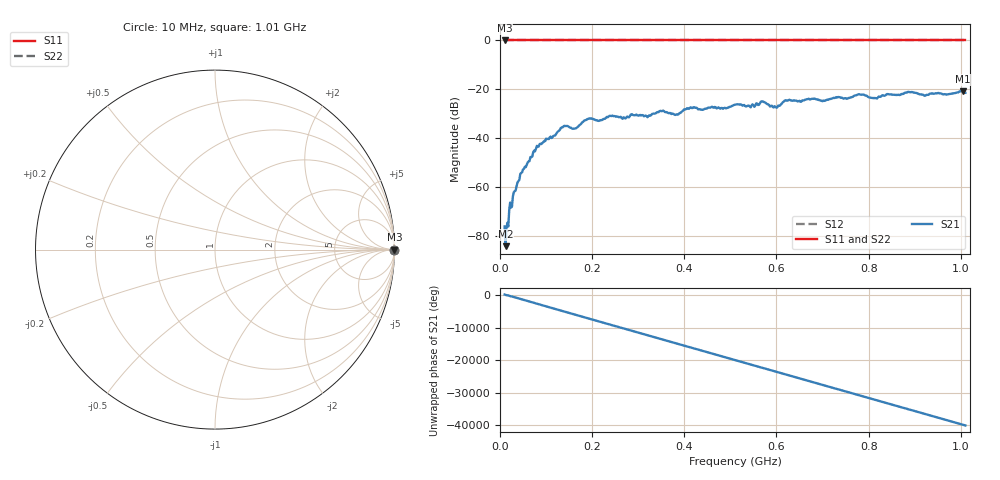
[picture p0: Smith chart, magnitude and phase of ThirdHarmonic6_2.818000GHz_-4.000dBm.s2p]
! 8/17/2025 7:26:21 AM
! C:\ANRITSUVNA\TEMP\TEMP.S2P
! CHANNEL.1
! TR.MEASUREMENT
! RAW.DATA
! RF.CORRECTION.OFF
! AVERAGING.OFF
! IF.BANDWIDTH: 5KHZ
! SWEEPTYPE:  FREQ.SWEEP(Linear)
! Reference Plane Port Info
! PORT:  PORT1  PORT2
! DISTANCE:  0  m  0  m
! TIME:  0  s  0  s
! PHASE.OFFSET:  0  deg.  0  deg.
! LOSS:  0  dB  0  dB
! REF.LOSS:  0  dB  0  dB
! REF.FREQ:  0  Hz  0  Hz
! Power Info
! POWER:  -20  dBm  -20  dBm
! EFF.POWER:  -20  dBm  -20  dBm
! SOURCE.ATTEN:  0  dB  0  dB
! TEST.ATTEN:  0  dB  0  dB
# GHZ S RI R 50.0
! FREQ.GHZ  S11RE  S11IM  S21RE  S21IM  S12RE  S12IM  S22RE  S22IM
!; PortSelection: Port_12
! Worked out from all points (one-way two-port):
!   501 points, 10 MHz to 1.01 GHz, reference 50 ohm
!   highest |S21| = -20.79 dB at 1.004 GHz (marker M1); lowest = -84.4 dB at 12 MHz (marker M2)
!   lowest |S11| = 0.0 dB at 10 MHz (marker M3)
!   |S11| at or under -10 dB: nowhere
!   |S22| runs from 0.0 to 0.0 dB; largest |S21 - S12| = 1.1
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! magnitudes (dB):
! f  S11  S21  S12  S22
! 10 MHz  0.0  -76.3  0.0  0.0
! 12 MHz  0.0  -84.4  0.0  0.0
! 16 MHz  0.0  -74.8  0.0  0.0
! 26 MHz  0.0  -68.0  0.0  0.0
! 42 MHz  0.0  -57.1  0.0  0.0
! 76 MHz  0.0  -45.4  0.0  0.0
! 136 MHz  0.0  -35.6  0.0  0.0
! 162 MHz  0.0  -36.1  0.0  0.0
! 178 MHz  0.0  -33.7  0.0  0.0
! 194 MHz  0.0  -31.9  0.0  0.0
! 322 MHz  0.0  -31.0  0.0  0.0
! 344 MHz  0.0  -29.4  0.0  0.0
! 384 MHz  0.0  -30.3  0.0  0.0
! 410 MHz  0.0  -28.0  0.0  0.0
! 510 MHz  0.0  -26.3  0.0  0.0
! 570 MHz  0.0  -25.0  0.0  0.0
! 598 MHz  0.0  -27.2  0.0  0.0
! 622 MHz  0.0  -24.6  0.0  0.0
! 678 MHz  0.0  -23.9  0.0  0.0
! 844 MHz  0.0  -22.1  0.0  0.0
! 1.004 GHz  0.0  -20.8  0.0  0.0
! 1.01 GHz  0.0  -21.5  0.0  0.0
